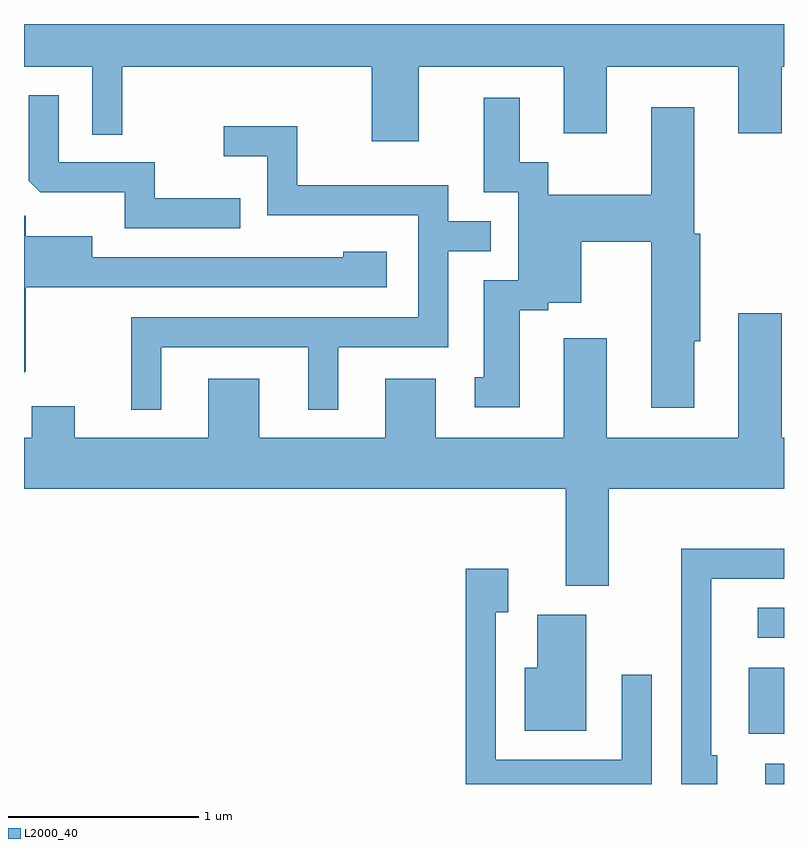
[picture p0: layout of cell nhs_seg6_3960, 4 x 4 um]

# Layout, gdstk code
import gdstk
lib = gdstk.Library(unit=1e-6, precision=1e-09)
def R(c, l, rs):  # rectangles x0, y0, x1, y1
    for r in rs: c.add(gdstk.rectangle(r[:2], r[2:], *l))
def P(c, l, *ps):  # polygons
    for p in ps: c.add(gdstk.Polygon(p, *l))
L2000_40 = (2000, 40)

nhs_seg6_3960 = lib.new_cell('nhs_seg6_3960')
R(nhs_seg6_3960, L2000_40, [(307.513,1646.162,307.611,1646.269), (307.426,1646.426,307.611,1646.774), (307.473,1646.931,307.611,1647.089)])
P(nhs_seg6_3960, L2000_40, [(305.689,1649.936),(306.451,1649.936),(306.451,1649.586),(306.679,1649.586),(306.679,1649.936),(307.371,1649.936),(307.371,1649.586),(307.599,1649.586),(307.599,1649.936),(307.611,1649.936),(307.611,1650.162),(303.611,1650.162),(303.611,1649.936),(303.971,1649.936),(303.971,1649.578),(304.129,1649.578),(304.129,1649.936),(305.441,1649.936),(305.441,1649.546),(305.689,1649.546)],
  [(304.748,1649.244),(304.299,1649.244),(304.299,1649.434),(303.794,1649.434),(303.794,1649.788),(303.636,1649.788),(303.636,1649.337),(303.697,1649.276),(304.141,1649.276),(304.141,1649.086),(304.748,1649.086)],
  [(307.139,1648.491),(307.169,1648.491),(307.169,1649.059),(307.139,1649.059),(307.139,1649.724),(306.911,1649.724),(306.911,1649.264),(306.369,1649.264),(306.369,1649.434),(306.219,1649.434),(306.219,1649.774),(306.031,1649.774),(306.031,1649.276),(306.211,1649.276),(306.211,1648.814),(306.031,1648.814),(306.031,1648.304),(305.983,1648.304),(305.983,1648.146),(306.219,1648.146),(306.219,1648.656),(306.369,1648.656),(306.369,1648.696),(306.544,1648.696),(306.544,1649.016),(306.911,1649.016),(306.911,1648.141),(307.139,1648.141)],
  [(304.334,1648.461),(305.106,1648.461),(305.106,1648.133),(305.264,1648.133),(305.264,1648.461),(305.844,1648.461),(305.844,1648.966),(306.068,1648.966),(306.068,1649.124),(305.844,1649.124),(305.844,1649.314),(305.049,1649.314),(305.049,1649.624),(304.663,1649.624),(304.663,1649.466),(304.891,1649.466),(304.891,1649.156),(305.686,1649.156),(305.686,1648.619),(304.176,1648.619),(304.176,1648.133),(304.334,1648.133)],
  [(303.619,1648.334),(303.619,1648.776),(305.519,1648.776),(305.519,1648.964),(305.291,1648.964),(305.291,1648.934),(303.969,1648.934),(303.969,1649.044),(303.619,1649.044),(303.619,1649.154),(303.611,1649.154),(303.611,1648.326)],
  [(306.689,1647.716),(307.611,1647.716),(307.611,1647.984),(307.599,1647.984),(307.599,1648.639),(307.371,1648.639),(307.371,1647.984),(306.679,1647.984),(306.679,1648.509),(306.451,1648.509),(306.451,1647.984),(305.779,1647.984),(305.779,1648.294),(305.511,1648.294),(305.511,1647.984),(304.849,1647.984),(304.849,1648.294),(304.581,1648.294),(304.581,1647.984),(303.879,1647.984),(303.879,1648.149),(303.651,1648.149),(303.651,1647.984),(303.611,1647.984),(303.611,1647.716),(306.461,1647.716),(306.461,1647.206),(306.689,1647.206)],
  [(307.259,1646.314),(307.229,1646.314),(307.229,1647.241),(307.611,1647.241),(307.611,1647.399),(307.071,1647.399),(307.071,1646.162),(307.259,1646.162)],
  [(306.914,1646.738),(306.756,1646.738),(306.756,1646.289),(306.094,1646.289),(306.094,1647.066),(306.159,1647.066),(306.159,1647.294),(305.936,1647.294),(305.936,1646.162),(306.914,1646.162)],
  [(306.569,1647.054),(306.311,1647.054),(306.311,1646.774),(306.246,1646.774),(306.246,1646.441),(306.569,1646.441)])

lib.write_gds('nhs_seg6_3960.gds')
